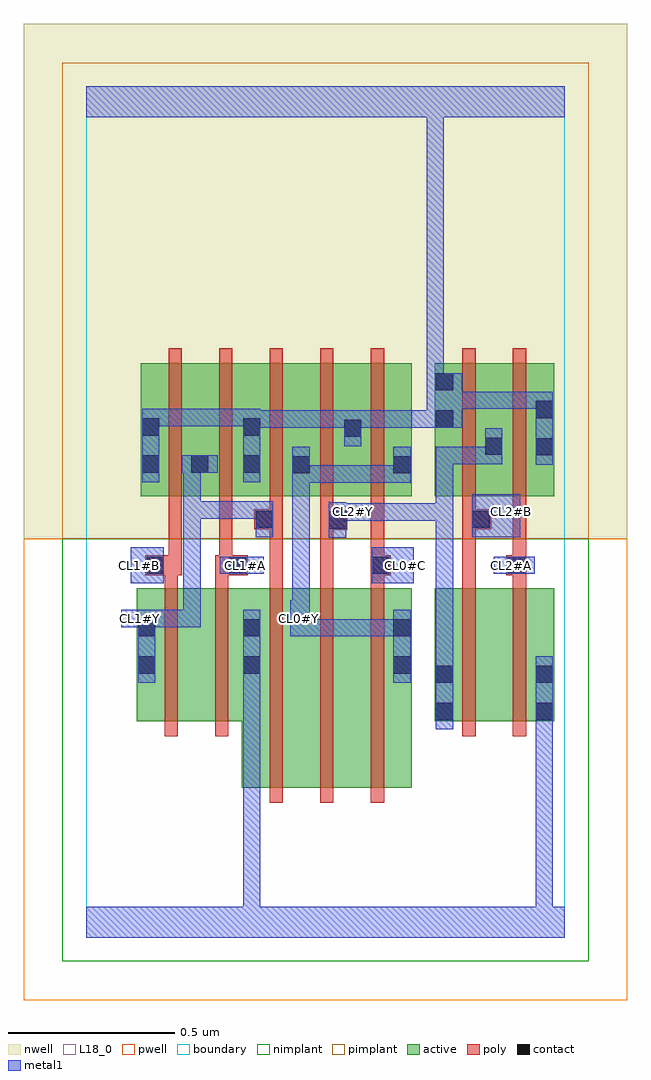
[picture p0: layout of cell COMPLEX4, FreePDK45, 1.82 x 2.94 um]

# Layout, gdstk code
import gdstk
lib = gdstk.Library(unit=1e-6, precision=1e-09)
def R(c, l, rs):  # rectangles x0, y0, x1, y1
    for r in rs: c.add(gdstk.rectangle(r[:2], r[2:], *l))
def A(c, l, x, y, w, h, nx, ny, dx, dy):  # array of equal rectangles
    R(c, l, [(x+i*dx, y+j*dy, x+i*dx+w, y+j*dy+h) for i in range(nx) for j in range(ny)])
active = (1, 0)
pwell = (2, 0)
nwell = (3, 0)
nimplant = (4, 0)
pimplant = (5, 0)
poly = (9, 0)
contact = (10, 0)
metal1 = (11, 0)
L18_0 = (18, 0)
boundary = (235, 0)

complex4 = lib.new_cell('COMPLEX4')
A(complex4, active, 0.164, 1.328, 0.208, 0.4, 3, 1, 0.304, 0)
R(complex4, active, [(0.468,0.45,0.528,1.05), (0.468,0.45,0.648,1.05), (0.648,0.45,0.8,1.05), (0.8,0.45,0.98,1.05), (0.92,0.45,0.98,1.05), (0.152,0.65,0.212,1.05), (0.152,0.65,0.332,1.05), (0.332,0.65,0.528,1.05), (1.048,0.65,1.108,1.05), (1.048,0.65,1.228,1.05), (1.228,0.65,1.408,1.05), (1.348,0.65,1.408,1.05), (0.164,1.328,0.224,1.728), (0.312,1.328,0.528,1.728), (0.312,1.328,0.372,1.644), (0.468,1.328,0.528,1.728), (0.616,1.328,0.676,1.728), (0.616,1.328,0.832,1.728), (0.772,1.328,0.832,1.728), (0.92,1.328,0.98,1.728), (1.048,1.328,1.108,1.728), (1.048,1.328,1.256,1.728), (1.196,1.328,1.408,1.728), (1.348,1.328,1.408,1.728), (1.196,1.448,1.256,1.644)])
R(complex4, pwell, [(-0.188,-0.188,1.628,1.2)])
R(complex4, nwell, [(-0.188,1.2,1.628,2.748)])
R(complex4, nimplant, [(-0.072,-0.072,1.512,1.2)])
R(complex4, pimplant, [(-0.072,1.2,1.512,2.632)])
A(complex4, poly, 0.552, 0.406, 0.04, 0.688, 3, 1, 0.152, 0)
A(complex4, poly, 0.248, 1.284, 0.04, 0.488, 5, 1, 0.152, 0)
R(complex4, poly, [(0.236,0.606,0.276,1.094), (0.388,0.606,0.428,1.094), (1.132,0.606,1.172,1.094), (1.284,0.606,1.324,1.094), (0.236,1.054,0.276,1.13), (0.388,1.054,0.428,1.13), (0.552,1.054,0.592,1.268), (0.704,1.054,0.744,1.266), (0.856,1.054,0.896,1.13), (1.132,1.054,1.172,1.268), (1.284,1.054,1.324,1.13), (0.178,1.09,0.288,1.15), (0.236,1.09,0.276,1.13), (0.236,1.09,0.276,1.13), (0.388,1.09,0.486,1.15), (0.856,1.09,0.916,1.15), (1.264,1.09,1.324,1.15), (0.248,1.11,0.288,1.324), (0.4,1.11,0.44,1.324), (0.4,1.11,0.44,1.15), (0.4,1.11,0.44,1.15), (0.856,1.11,0.896,1.324), (0.856,1.11,0.896,1.15), (0.856,1.11,0.896,1.15), (1.284,1.11,1.324,1.324), (1.284,1.11,1.324,1.15), (1.284,1.11,1.324,1.15), (0.704,1.226,0.744,1.266), (0.704,1.226,0.744,1.266), (0.704,1.226,0.786,1.286), (0.506,1.228,0.592,1.288), (0.552,1.228,0.592,1.268), (0.552,1.228,0.592,1.268), (1.132,1.228,1.172,1.268), (1.132,1.228,1.172,1.268), (1.132,1.228,1.218,1.288), (0.704,1.246,0.744,1.324), (0.552,1.248,0.592,1.324), (1.132,1.248,1.172,1.324), (1.132,1.284,1.172,1.772), (1.284,1.284,1.324,1.772)])
R(complex4, contact, [(1.052,0.654,1.104,0.706), (1.352,0.654,1.404,0.706), (1.052,0.766,1.104,0.818), (1.352,0.766,1.404,0.818), (0.156,0.794,0.208,0.846), (0.472,0.794,0.524,0.846), (0.924,0.794,0.976,0.846), (0.156,0.906,0.208,0.958), (0.472,0.906,0.524,0.958), (0.924,0.906,0.976,0.958), (0.182,1.094,0.234,1.146), (0.43,1.094,0.482,1.146), (0.86,1.094,0.912,1.146), (1.268,1.094,1.32,1.146), (0.73,1.23,0.782,1.282), (0.51,1.232,0.562,1.284), (1.162,1.232,1.214,1.284), (0.62,1.396,0.672,1.448), (0.924,1.396,0.976,1.448), (0.168,1.398,0.22,1.45), (0.316,1.398,0.368,1.45), (0.472,1.398,0.524,1.45), (1.352,1.45,1.404,1.502), (1.2,1.452,1.252,1.504), (0.776,1.506,0.828,1.558), (0.168,1.51,0.22,1.562), (0.472,1.51,0.524,1.562), (1.052,1.534,1.104,1.586), (1.352,1.562,1.404,1.614), (1.052,1.646,1.104,1.698)])
R(complex4, metal1, [(0,0,1.44,0.092), (0.472,0.04,0.524,0.092), (0.472,0.04,0.524,0.092), (0.472,0.04,0.524,0.092), (0.472,0.04,0.524,0.092), (0.472,0.04,0.524,0.092), (0.472,0.04,0.524,0.092), (0.472,0.04,0.524,0.818), (1.352,0.04,1.404,0.092), (1.352,0.04,1.404,0.092), (1.352,0.04,1.404,0.678), (1.052,0.626,1.104,0.846), (1.352,0.626,1.404,0.846), (1.352,0.626,1.404,0.678), (1.352,0.626,1.404,0.678), (1.352,0.626,1.404,0.678), (1.352,0.626,1.404,0.678), (1.352,0.626,1.404,0.678), (1.352,0.626,1.404,0.678), (1.352,0.626,1.404,0.678), (1.352,0.626,1.404,0.678), (1.352,0.626,1.404,0.678), (1.352,0.626,1.404,0.678), (0.156,0.766,0.208,0.986), (0.472,0.766,0.524,0.986), (0.472,0.766,0.524,0.818), (0.472,0.766,0.524,0.818), (0.924,0.766,0.976,0.986), (1.052,0.794,1.104,0.846), (1.052,0.794,1.104,0.846), (1.052,0.794,1.104,1.306), (0.614,0.906,0.672,1.014), (0.62,0.906,0.782,0.958), (0.62,0.906,0.672,0.958), (0.62,0.906,0.672,0.958), (0.73,0.906,0.782,0.958), (0.73,0.906,0.782,0.958), (0.73,0.906,0.782,0.958), (0.73,0.906,0.966,0.958), (0.914,0.906,0.966,0.958), (0.914,0.906,0.976,0.958), (0.106,0.934,0.214,0.986), (0.156,0.934,0.208,0.986), (0.162,0.934,0.214,0.986), (0.162,0.934,0.214,0.986), (0.162,0.934,0.344,0.986), (0.292,0.934,0.344,0.986), (0.292,0.934,0.344,1.312), (0.62,0.962,0.672,1.014), (0.62,0.962,0.672,1.014), (0.62,0.962,0.672,1.42), (0.134,1.066,0.234,1.174), (0.86,1.066,0.986,1.174), (0.402,1.094,0.534,1.146), (1.226,1.094,1.35,1.146), (0.73,1.202,0.782,1.31), (0.51,1.204,0.562,1.312), (1.162,1.204,1.306,1.334), (0.73,1.254,0.798,1.306), (0.746,1.254,0.854,1.306), (0.802,1.254,0.966,1.306), (0.914,1.254,0.966,1.306), (0.914,1.254,0.966,1.306), (0.914,1.254,0.966,1.306), (0.914,1.254,1.104,1.306), (1.052,1.254,1.104,1.306), (1.052,1.254,1.104,1.476), (0.292,1.26,0.344,1.312), (0.292,1.26,0.344,1.312), (0.292,1.26,0.344,1.312), (0.292,1.26,0.556,1.312), (0.292,1.26,0.344,1.45), (0.504,1.26,0.556,1.312), (0.504,1.26,0.562,1.312), (0.62,1.368,0.672,1.42), (0.62,1.368,0.672,1.42), (0.62,1.368,0.672,1.476), (0.62,1.368,0.856,1.42), (0.804,1.368,0.966,1.42), (0.804,1.368,0.856,1.42), (0.914,1.368,0.966,1.42), (0.914,1.368,0.976,1.42), (0.924,1.368,0.976,1.476), (0.168,1.37,0.22,1.59), (0.472,1.37,0.524,1.59), (0.288,1.398,0.396,1.45), (1.352,1.422,1.404,1.642), (1.052,1.424,1.104,1.476), (1.052,1.424,1.104,1.476), (1.052,1.424,1.104,1.476), (1.052,1.424,1.252,1.476), (1.2,1.424,1.252,1.532), (0.776,1.478,0.828,1.586), (0.472,1.534,0.524,1.586), (0.472,1.534,0.524,1.586), (0.472,1.534,0.672,1.586), (0.62,1.534,0.672,1.586), (0.62,1.534,0.672,1.586), (0.62,1.534,0.672,1.586), (0.62,1.534,0.828,1.586), (0.776,1.534,0.966,1.586), (0.914,1.534,1.076,1.586), (0.914,1.534,0.966,1.586), (0.914,1.534,0.966,1.586), (0.914,1.534,0.966,1.586), (1.024,1.534,1.132,1.698), (0.168,1.538,0.22,1.59), (0.168,1.538,0.22,1.59), (0.168,1.538,0.344,1.59), (0.292,1.538,0.344,1.59), (0.292,1.538,0.344,1.59), (0.292,1.538,0.344,1.59), (0.292,1.538,0.524,1.59), (1.08,1.59,1.132,1.642), (1.08,1.59,1.132,1.642), (1.08,1.59,1.294,1.642), (1.242,1.59,1.404,1.642), (1.242,1.59,1.294,1.642), (1.242,1.59,1.294,1.642), (1.242,1.59,1.294,1.642), (1.024,1.646,1.076,2.52), (0,2.468,1.44,2.56), (1.024,2.468,1.076,2.52), (1.024,2.468,1.076,2.52), (1.024,2.468,1.076,2.52), (1.024,2.468,1.076,2.52), (1.024,2.468,1.076,2.52), (1.024,2.468,1.076,2.52), (1.024,2.468,1.076,2.52), (1.024,2.468,1.076,2.52), (1.024,2.468,1.076,2.52), (1.024,2.468,1.076,2.52), (1.024,2.468,1.076,2.52), (1.024,2.468,1.076,2.52), (1.024,2.468,1.076,2.52), (1.024,2.468,1.076,2.52), (1.024,2.468,1.076,2.52), (1.024,2.468,1.076,2.52)])
R(complex4, L18_0, [(0,0,1.44,0.092), (0.472,0.04,0.524,0.092), (0.472,0.04,0.524,0.092), (0.472,0.04,0.524,0.092), (0.472,0.04,0.524,0.092), (0.472,0.04,0.524,0.092), (0.472,0.04,0.524,0.092), (0.472,0.04,0.524,0.818), (1.352,0.04,1.404,0.092), (1.352,0.04,1.404,0.092), (1.352,0.04,1.404,0.678), (1.052,0.626,1.104,0.846), (1.352,0.626,1.404,0.846), (1.352,0.626,1.404,0.678), (1.352,0.626,1.404,0.678), (1.352,0.626,1.404,0.678), (1.352,0.626,1.404,0.678), (1.352,0.626,1.404,0.678), (1.352,0.626,1.404,0.678), (1.352,0.626,1.404,0.678), (1.352,0.626,1.404,0.678), (1.352,0.626,1.404,0.678), (1.352,0.626,1.404,0.678), (0.156,0.766,0.208,0.986), (0.472,0.766,0.524,0.986), (0.472,0.766,0.524,0.818), (0.472,0.766,0.524,0.818), (0.924,0.766,0.976,0.986), (1.052,0.794,1.104,0.846), (1.052,0.794,1.104,0.846), (1.052,0.794,1.104,1.306), (0.614,0.906,0.672,1.014), (0.62,0.906,0.672,0.958), (0.62,0.906,0.672,0.958), (0.62,0.906,0.782,0.958), (0.73,0.906,0.782,0.958), (0.73,0.906,0.782,0.958), (0.73,0.906,0.782,0.958), (0.73,0.906,0.966,0.958), (0.914,0.906,0.966,0.958), (0.914,0.906,0.976,0.958), (0.106,0.934,0.214,0.986), (0.134,0.934,0.186,0.986), (0.156,0.934,0.208,0.986), (0.162,0.934,0.214,0.986), (0.162,0.934,0.214,0.986), (0.162,0.934,0.344,0.986), (0.292,0.934,0.344,0.986), (0.292,0.934,0.344,1.312), (0.614,0.934,0.666,0.986), (0.62,0.962,0.672,1.014), (0.62,0.962,0.672,1.014), (0.62,0.962,0.672,1.42), (0.134,1.066,0.234,1.174), (0.86,1.066,0.986,1.174), (0.134,1.094,0.186,1.146), (0.402,1.094,0.534,1.146), (0.454,1.094,0.506,1.146), (0.934,1.094,0.986,1.146), (1.226,1.094,1.35,1.146), (1.254,1.094,1.306,1.146), (0.73,1.202,0.782,1.31), (0.51,1.204,0.562,1.312), (1.162,1.204,1.306,1.334), (0.73,1.254,0.798,1.306), (0.746,1.254,0.854,1.306), (0.774,1.254,0.826,1.306), (0.802,1.254,0.966,1.306), (0.914,1.254,0.966,1.306), (0.914,1.254,0.966,1.306), (0.914,1.254,0.966,1.306), (0.914,1.254,1.104,1.306), (1.052,1.254,1.104,1.306), (1.052,1.254,1.104,1.476), (1.254,1.254,1.306,1.306), (0.292,1.26,0.344,1.312), (0.292,1.26,0.344,1.312), (0.292,1.26,0.344,1.312), (0.292,1.26,0.344,1.45), (0.292,1.26,0.556,1.312), (0.504,1.26,0.556,1.312), (0.504,1.26,0.562,1.312), (0.62,1.368,0.672,1.42), (0.62,1.368,0.672,1.42), (0.62,1.368,0.672,1.476), (0.62,1.368,0.856,1.42), (0.804,1.368,0.856,1.42), (0.804,1.368,0.966,1.42), (0.914,1.368,0.966,1.42), (0.914,1.368,0.976,1.42), (0.924,1.368,0.976,1.476), (0.168,1.37,0.22,1.59), (0.472,1.37,0.524,1.59), (0.288,1.398,0.396,1.45), (1.352,1.422,1.404,1.642), (1.052,1.424,1.104,1.476), (1.052,1.424,1.104,1.476), (1.052,1.424,1.104,1.476), (1.052,1.424,1.252,1.476), (1.2,1.424,1.252,1.532), (0.776,1.478,0.828,1.586), (0.472,1.534,0.524,1.586), (0.472,1.534,0.524,1.586), (0.472,1.534,0.672,1.586), (0.62,1.534,0.672,1.586), (0.62,1.534,0.672,1.586), (0.62,1.534,0.672,1.586), (0.62,1.534,0.828,1.586), (0.776,1.534,0.966,1.586), (0.914,1.534,0.966,1.586), (0.914,1.534,0.966,1.586), (0.914,1.534,0.966,1.586), (0.914,1.534,1.076,1.586), (1.024,1.534,1.132,1.698), (0.168,1.538,0.22,1.59), (0.168,1.538,0.22,1.59), (0.168,1.538,0.344,1.59), (0.292,1.538,0.344,1.59), (0.292,1.538,0.344,1.59), (0.292,1.538,0.344,1.59), (0.292,1.538,0.524,1.59), (1.08,1.59,1.132,1.642), (1.08,1.59,1.132,1.642), (1.08,1.59,1.294,1.642), (1.242,1.59,1.294,1.642), (1.242,1.59,1.294,1.642), (1.242,1.59,1.294,1.642), (1.242,1.59,1.404,1.642), (1.024,1.646,1.076,2.52), (0,2.468,1.44,2.56), (1.024,2.468,1.076,2.52), (1.024,2.468,1.076,2.52), (1.024,2.468,1.076,2.52), (1.024,2.468,1.076,2.52), (1.024,2.468,1.076,2.52), (1.024,2.468,1.076,2.52), (1.024,2.468,1.076,2.52), (1.024,2.468,1.076,2.52), (1.024,2.468,1.076,2.52), (1.024,2.468,1.076,2.52), (1.024,2.468,1.076,2.52), (1.024,2.468,1.076,2.52), (1.024,2.468,1.076,2.52), (1.024,2.468,1.076,2.52), (1.024,2.468,1.076,2.52), (1.024,2.468,1.076,2.52)])
R(complex4, boundary, [(0,0,1.44,2.56)])
complex4.add(gdstk.Label('CL0#C', (0.96,1.12), layer=11, texttype=0))
complex4.add(gdstk.Label('CL0#Y', (0.64,0.96), layer=11, texttype=0))
complex4.add(gdstk.Label('CL1#A', (0.48,1.12), layer=11, texttype=0))
complex4.add(gdstk.Label('CL1#B', (0.16,1.12), layer=11, texttype=0))
complex4.add(gdstk.Label('CL1#Y', (0.16,0.96), layer=11, texttype=0))
complex4.add(gdstk.Label('CL2#A', (1.28,1.12), layer=11, texttype=0))
complex4.add(gdstk.Label('CL2#B', (1.28,1.28), layer=11, texttype=0))
complex4.add(gdstk.Label('CL2#Y', (0.8,1.28), layer=11, texttype=0))

lib.write_gds('COMPLEX4.gds')
